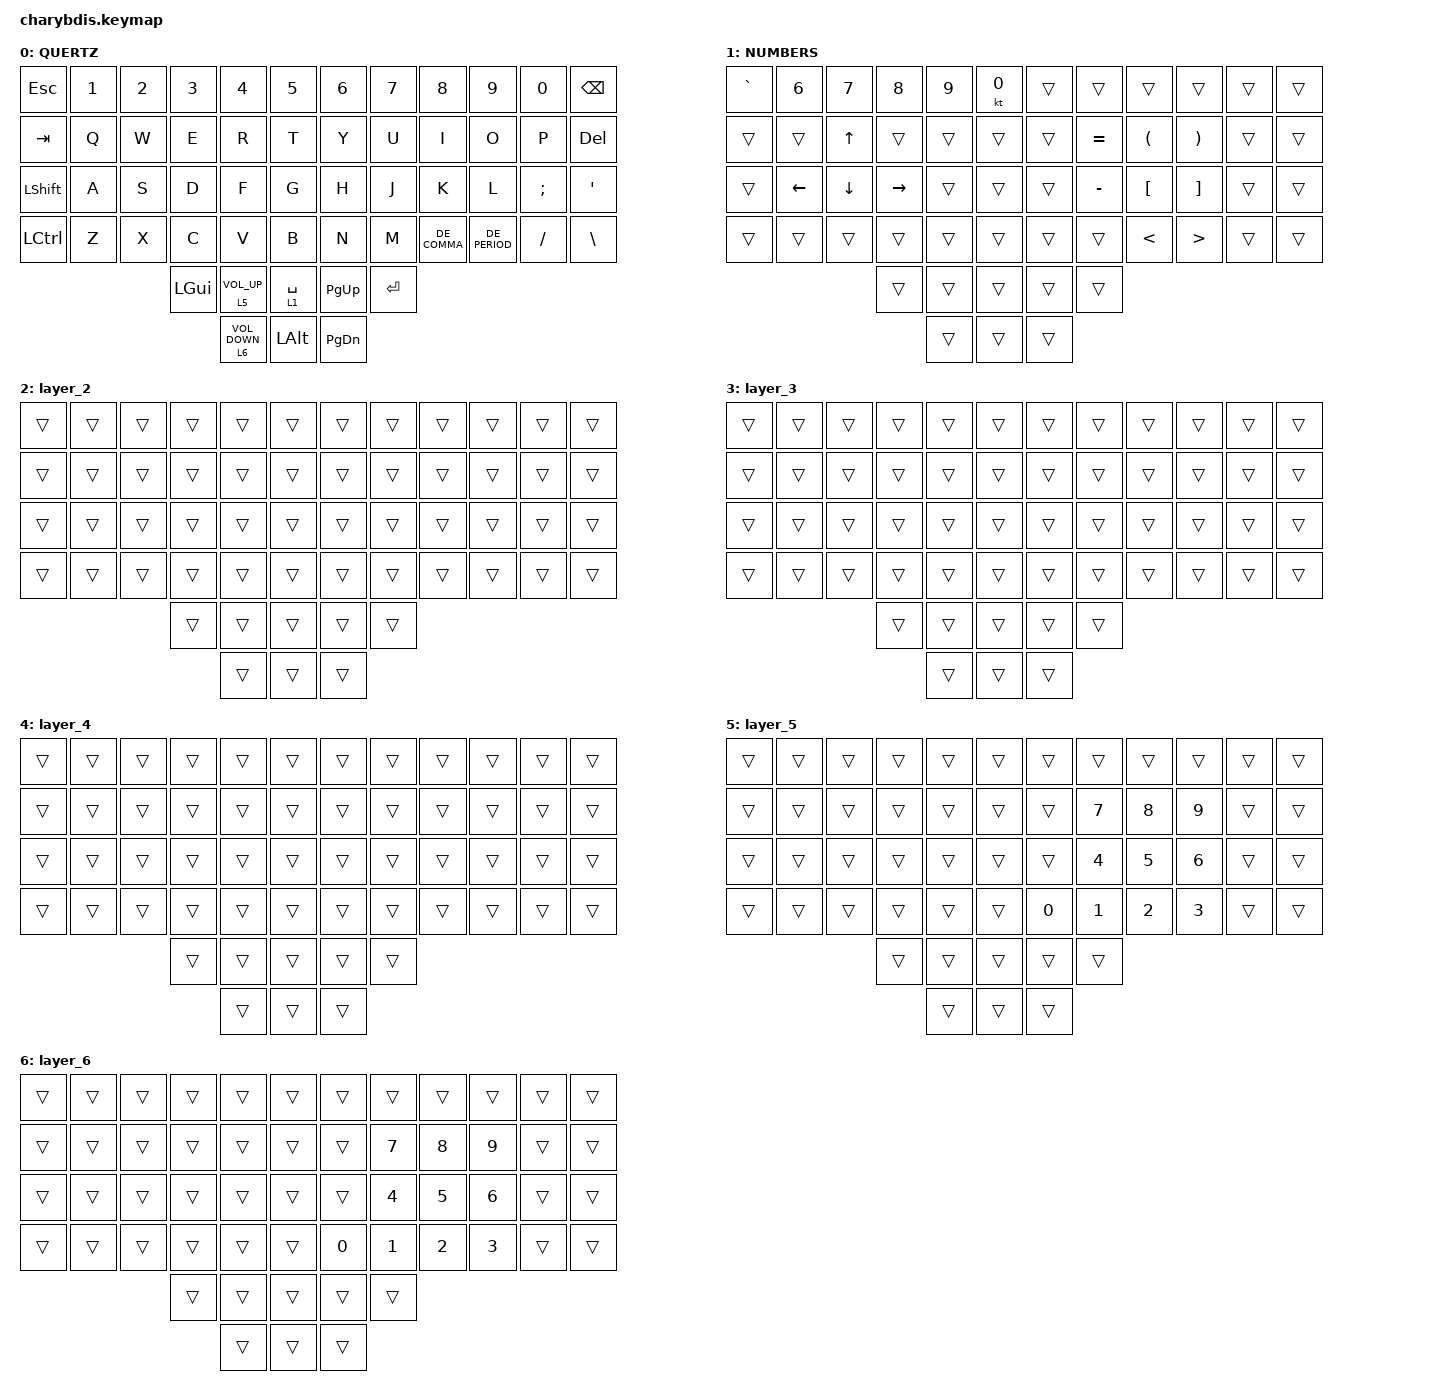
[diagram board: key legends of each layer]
#include "keys_de_swiss.h"
#include <dt-bindings/zmk/mouse.h>
#include <behaviors/mouse_keys.dtsi>
#include <behaviors.dtsi>
#include <dt-bindings/zmk/keys.h>
#include <dt-bindings/zmk/pointing.h>

// / {
//     chosen { zmk,matrix_transform = &default_transform; };
// };

/ {
    /* input config for mouse move mode */

    trackball_listener {
        compatible = "zmk,input-behavior-listener";
        device = <&vtrackball>;
        layers = <0 3 6>;
        evt-type = <INPUT_EV_REL>;
        x-input-code = <INPUT_REL_X>;
        y-input-code = <INPUT_REL_Y>;
        scale-multiplier = <1>;
        scale-divisor = <2>;

        // bindings = <&ib_toggle_layer 7>;
    };

    /* input config for snipe mode */

    trackball_snipe_listener {
        compatible = "zmk,input-behavior-listener";
        device = <&vtrackball>;
        layers = <10>;
        evt-type = <INPUT_EV_REL>;
        x-input-code = <INPUT_REL_X>;
        y-input-code = <INPUT_REL_Y>;
        scale-multiplier = <1>;
        scale-divisor = <4>;
    };

    /* input config for mouse scroll mode */

    trackball_scroll_listener {
        compatible = "zmk,input-behavior-listener";
        device = <&vtrackball>;
        layers = <9>;
        evt-type = <INPUT_EV_REL>;
        x-input-code = <INPUT_REL_MISC>;
        y-input-code = <INPUT_REL_WHEEL>;
        y-invert;
        bindings = <&ib_wheel_scaler 1 14>;
    };

    /* define a resolution down scaler only for INPUT_REL_WHEEL */

    ib_wheel_scaler: ib_wheel_scaler {
        compatible = "zmk,input-behavior-scaler";
        #binding-cells = <2>;
        evt-type = <INPUT_EV_REL>;
        input-code = <INPUT_REL_WHEEL>;
    };

    /* adjust cooldown waiting period for mouse key layer after activated */

    ib_toggle_layer: ib_toggle_layer {
        compatible = "zmk,input-behavior-tog-layer";
        #binding-cells = <1>;
        time-to-live-ms = <750>;
    };

    // #define QUERTZ    0
    // #define NUMBERS   1
    // #define NAV-FUN   2
    // #define MAC       3
    // #define MAC-NUM   4
    // #define MAC-NAV   5
    // #define GAME      6
    // #define GAME-NUM  7
    // #define GAME-NAV  8
    // #define SCROLL    9
    // #define SNIPER   10
    // #define FN       11

    combos {
        compatible = "zmk,combos";

        rh_leftClick {
            bindings = <&mkp LCLK>;
            key-positions = <43 44>;
        };

        rh_rightClick {
            bindings = <&mkp RCLK>;
            key-positions = <44 45>;
        };

        rh_middleClick {
            bindings = <&mkp MCLK>;
            key-positions = <44 45 43>;
        };

        lh_leftClick {
            bindings = <&mkp LCLK>;
            key-positions = <40 39>;
        };

        lh_rightClick {
            bindings = <&mkp RCLK>;
            key-positions = <38 39>;
        };

        lh_middleClick {
            bindings = <&mkp MCLK>;
            key-positions = <38 39 40>;
        };

        CAPZ {
            bindings = <&kp CAPSLOCK>;
            key-positions = <24 25>;
        };
    };

    behaviors {
        hmr: hmr {
            compatible = "zmk,behavior-hold-tap";
            label = "HMR";
            bindings = <&kp>, <&kp>;

            #binding-cells = <2>;
            tapping-term-ms = <190>;
            quick-tap-ms = <175>;
            flavor = "balanced";
            hold-trigger-key-positions = <0 1 2 3 4 5 12 13 14 15 16 17 24 25 26 27 28 29 36 37 38 39 40 41 48 49 50 53 54 51 52 55>;
            hold-trigger-on-release;
        };

        hml: hml {
            compatible = "zmk,behavior-hold-tap";
            label = "HML";
            bindings = <&kp>, <&kp>;

            #binding-cells = <2>;
            tapping-term-ms = <190>;
            quick-tap-ms = <175>;
            flavor = "balanced";
            hold-trigger-key-positions = <48 49 50 53 54 51 52 55 6 7 8 9 10 11 18 19 20 21 22 23 30 31 32 33 34 35 42 43 44 45 46 47 51 52>;
            hold-trigger-on-release;
        };
    };

    keymap {
        compatible = "zmk,keymap";

        default_win_layer {
            bindings = <
&kp ESCAPE      &kp N1  &kp N2  &kp N3        &kp N4               &kp N5          &kp N6         &kp N7      &kp N8        &kp N9         &kp N0         &kp BACKSPACE
&kp TAB         &kp Q   &kp W   &kp E         &kp R                &kp T           &kp Y          &kp U       &kp I         &kp O          &kp P          &kp DELETE
&kp LEFT_SHIFT  &kp A   &kp S   &kp D         &kp F                &kp G           &kp H          &kp J       &kp K         &kp L          &kp SEMICOLON  &kp APOS
&kp LCTRL       &kp Z   &kp X   &kp C         &kp V                &kp B           &kp N          &kp M       &kp DE_COMMA  &kp DE_PERIOD  &kp SLASH      &kp BACKSLASH
                                &kp LEFT_GUI  &lt 5 C_VOLUME_UP    &lt 1 SPACE     &kp PAGE_UP    &kp RETURN
                                              &lt 6 C_VOLUME_DOWN  &kp LEFT_ALT    &kp PAGE_DOWN
            >;

            label = "QUERTZ";
        };

        win_raise_layer {
            bindings = <
&kp GRAVE  &kp N6    &kp N7    &kp N8     &kp N9  &kt N0    &trans  &trans     &trans                &trans                 &trans  &trans
&trans     &trans    &kp UP    &trans     &trans  &trans    &trans  &kp EQUAL  &kp LEFT_PARENTHESIS  &kp RIGHT_PARENTHESIS  &trans  &trans
&trans     &kp LEFT  &kp DOWN  &kp RIGHT  &trans  &trans    &trans  &kp MINUS  &kp LEFT_BRACKET      &kp RIGHT_BRACKET      &trans  &trans
&trans     &trans    &trans    &trans     &trans  &trans    &trans  &trans     &kp LESS_THAN         &kp GREATER_THAN       &trans  &trans
                               &trans     &trans  &trans    &trans  &trans
                                          &trans  &trans    &trans
            >;

            label = "NUMBERS";
        };

        layer_2 {
            bindings = <
&trans  &trans  &trans  &trans  &trans  &trans    &trans  &trans  &trans  &trans  &trans  &trans
&trans  &trans  &trans  &trans  &trans  &trans    &trans  &trans  &trans  &trans  &trans  &trans
&trans  &trans  &trans  &trans  &trans  &trans    &trans  &trans  &trans  &trans  &trans  &trans
&trans  &trans  &trans  &trans  &trans  &trans    &trans  &trans  &trans  &trans  &trans  &trans
                        &trans  &trans  &trans    &trans  &trans
                                &trans  &trans    &trans
            >;
        };

        layer_3 {
            bindings = <
&trans  &trans  &trans  &trans  &trans  &trans    &trans  &trans  &trans  &trans  &trans  &trans
&trans  &trans  &trans  &trans  &trans  &trans    &trans  &trans  &trans  &trans  &trans  &trans
&trans  &trans  &trans  &trans  &trans  &trans    &trans  &trans  &trans  &trans  &trans  &trans
&trans  &trans  &trans  &trans  &trans  &trans    &trans  &trans  &trans  &trans  &trans  &trans
                        &trans  &trans  &trans    &trans  &trans
                                &trans  &trans    &trans
            >;
        };

        layer_4 {
            bindings = <
&trans  &trans  &trans  &trans  &trans  &trans    &trans  &trans  &trans  &trans  &trans  &trans
&trans  &trans  &trans  &trans  &trans  &trans    &trans  &trans  &trans  &trans  &trans  &trans
&trans  &trans  &trans  &trans  &trans  &trans    &trans  &trans  &trans  &trans  &trans  &trans
&trans  &trans  &trans  &trans  &trans  &trans    &trans  &trans  &trans  &trans  &trans  &trans
                        &trans  &trans  &trans    &trans  &trans
                                &trans  &trans    &trans
            >;
        };

        layer_5 {
            bindings = <
&trans  &trans  &trans  &trans  &trans  &trans    &trans  &trans  &trans  &trans  &trans  &trans
&trans  &trans  &trans  &trans  &trans  &trans    &trans  &kp N7  &kp N8  &kp N9  &trans  &trans
&trans  &trans  &trans  &trans  &trans  &trans    &trans  &kp N4  &kp N5  &kp N6  &trans  &trans
&trans  &trans  &trans  &trans  &trans  &trans    &kp N0  &kp N1  &kp N2  &kp N3  &trans  &trans
                        &trans  &trans  &trans    &trans  &trans
                                &trans  &trans    &trans
            >;
        };

        layer_6 {
            bindings = <
&trans  &trans  &trans  &trans  &trans  &trans    &trans  &trans  &trans  &trans  &trans  &trans
&trans  &trans  &trans  &trans  &trans  &trans    &trans  &kp N7  &kp N8  &kp N9  &trans  &trans
&trans  &trans  &trans  &trans  &trans  &trans    &trans  &kp N4  &kp N5  &kp N6  &trans  &trans
&trans  &trans  &trans  &trans  &trans  &trans    &kp N0  &kp N1  &kp N2  &kp N3  &trans  &trans
                        &trans  &trans  &trans    &trans  &trans
                                &trans  &trans    &trans
            >;
        };
    };
};
